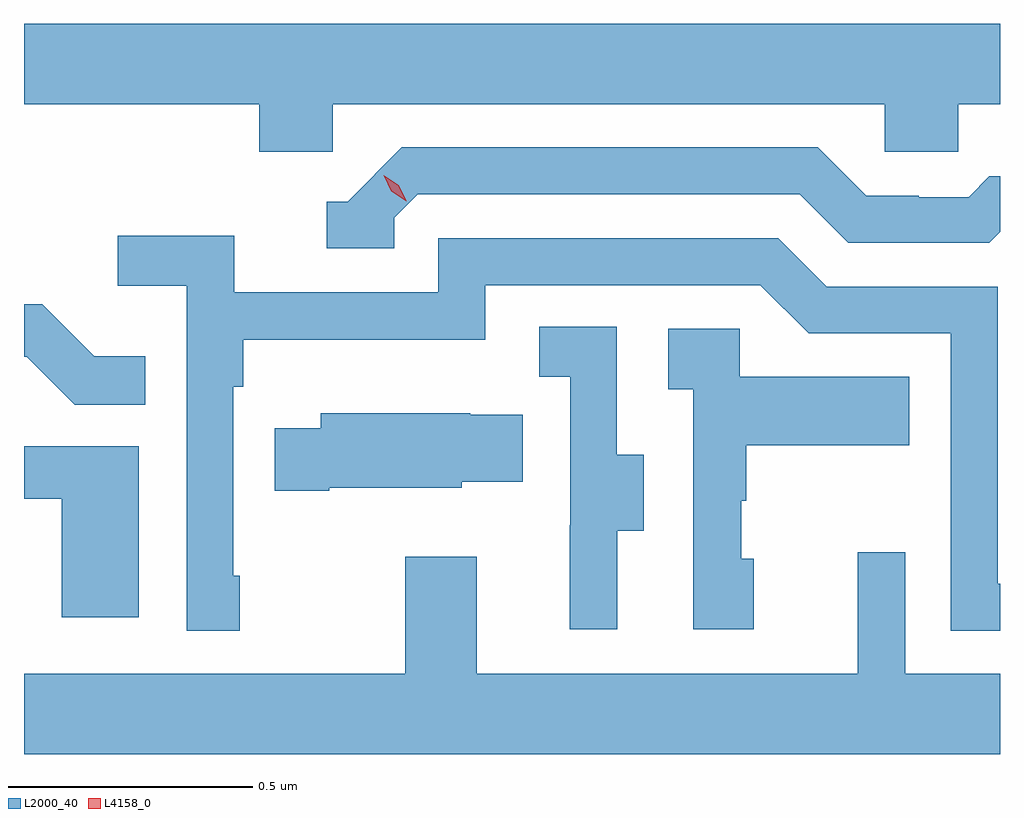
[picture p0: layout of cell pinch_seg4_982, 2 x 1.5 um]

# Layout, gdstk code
import gdstk
lib = gdstk.Library(unit=1e-6, precision=1e-09)
def P(c, l, *ps):  # polygons
    for p in ps: c.add(gdstk.Polygon(p, *l))
L2000_40 = (2000, 40)
L4158_0 = (4158, 0)

pinch_seg4_982 = lib.new_cell('pinch_seg4_982')
P(pinch_seg4_982, L2000_40, [(886.512,775.508),(887.643,775.508),(887.643,775.41),(887.793,775.41),(887.793,775.508),(887.879,775.508),(887.879,775.672),(885.879,775.672),(885.879,775.508),(886.361,775.508),(886.361,775.41),(886.512,775.41)],
  [(886.638,775.275),(886.686,775.323),(887.469,775.323),(887.568,775.224),(887.857,775.224),(887.879,775.246),(887.879,775.36),(887.857,775.36),(887.815,775.317),(887.712,775.317),(887.712,775.32),(887.605,775.32),(887.506,775.419),(886.653,775.419),(886.542,775.308),(886.499,775.308),(886.499,775.212),(886.638,775.212)],
  [(886.321,774.541),(886.308,774.541),(886.308,774.929),(886.328,774.929),(886.328,775.025),(886.824,775.025),(886.824,775.137),(887.388,775.137),(887.487,775.038),(887.778,775.038),(887.778,774.429),(887.879,774.429),(887.879,774.525),(887.874,774.525),(887.874,775.134),(887.524,775.134),(887.425,775.233),(886.728,775.233),(886.728,775.122),(886.31,775.122),(886.31,775.238),(886.071,775.238),(886.071,775.136),(886.212,775.136),(886.212,774.429),(886.321,774.429)],
  [(886.127,774.991),(886.023,774.991),(885.916,775.098),(885.879,775.098),(885.879,774.99),(885.885,774.99),(885.983,774.892),(886.127,774.892)],
  [(887.095,774.634),(887.149,774.634),(887.149,774.789),(887.094,774.789),(887.094,775.052),(886.935,775.052),(886.935,774.949),(886.998,774.949),(886.998,774.645),(886.997,774.645),(886.997,774.432),(887.095,774.432)],
  [(887.374,774.576),(887.349,774.576),(887.349,774.695),(887.359,774.695),(887.359,774.809),(887.693,774.809),(887.693,774.949),(887.346,774.949),(887.346,775.047),(887.199,775.047),(887.199,774.923),(887.25,774.923),(887.25,774.432),(887.374,774.432)],
  [(886.504,774.722),(886.776,774.722),(886.776,774.734),(886.901,774.734),(886.901,774.871),(886.793,774.871),(886.793,774.874),(886.487,774.874),(886.487,774.844),(886.393,774.844),(886.393,774.715),(886.504,774.715)],
  [(886.114,774.807),(885.879,774.807),(885.879,774.699),(885.956,774.699),(885.956,774.456),(886.114,774.456)],
  [(887.879,774.34),(887.685,774.34),(887.685,774.589),(887.588,774.589),(887.588,774.34),(886.807,774.34),(886.807,774.58),(886.66,774.58),(886.66,774.34),(885.879,774.34),(885.879,774.176),(887.879,774.176)])
P(pinch_seg4_982, L4158_0, [(886.662,775.309),(886.632,775.329),(886.616,775.362),(886.616,775.362),(886.616,775.362),(886.647,775.342),(886.662,775.31),(886.662,775.309)])

lib.write_gds('pinch_seg4_982.gds')
